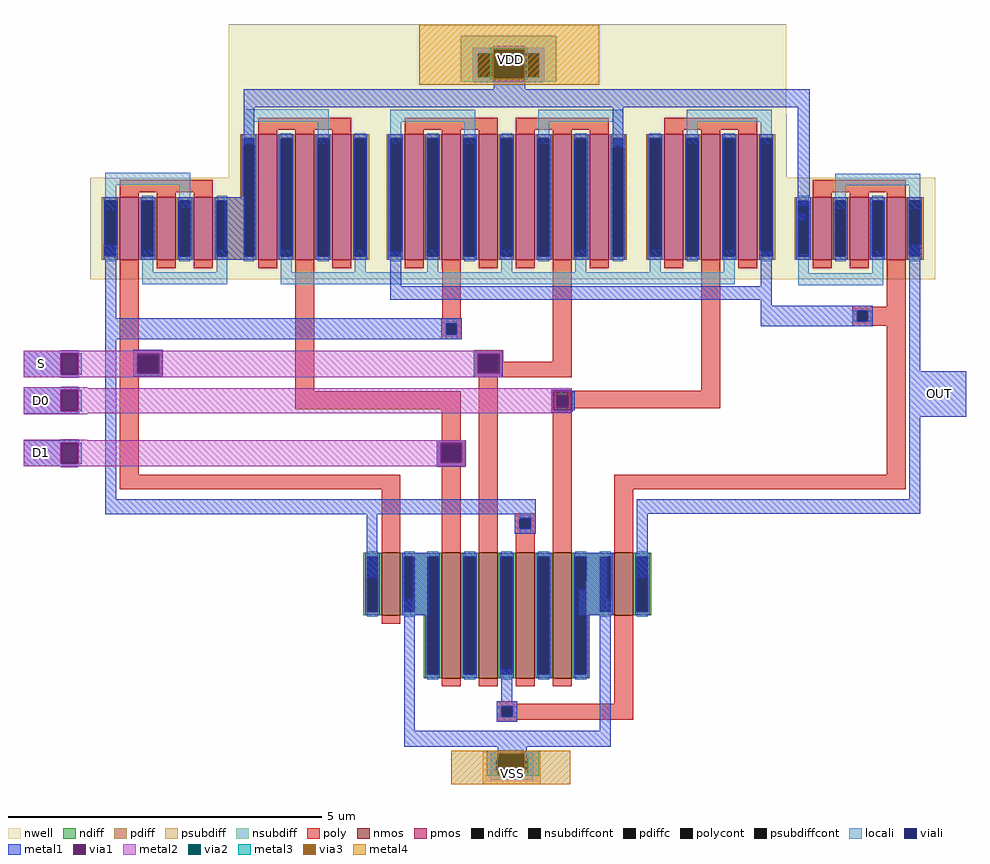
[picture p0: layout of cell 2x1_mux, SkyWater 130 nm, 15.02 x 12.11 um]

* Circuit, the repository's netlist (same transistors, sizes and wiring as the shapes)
** sch_path:
*+ /mnt/c/Users/DRC/Desktop/elec/4th/4th_fall/elec451/final_project/design/xschem/2x1_mux.sch
.subckt 2x1_mux VSS VDD S D0 D1 OUT
*.PININFO VSS:B VDD:B S:I D0:I D1:I OUT:O
XM2 net1 S_BAR net3 VSS sky130_fd_pr__nfet_01v8 L=0.3 W=2 nf=1 ad='int((nf+1)/2) * W/nf * 0.29' as='int((nf+2)/2) * W/nf * 0.29'
+ pd='2*int((nf+1)/2) * (W/nf + 0.29)' ps='2*int((nf+2)/2) * (W/nf + 0.29)' nrd='0.29 / W' nrs='0.29 / W'
+ sa=0 sb=0 sd=0 mult=1 m=1
XM3 net2 D1 VSS VSS sky130_fd_pr__nfet_01v8 L=0.3 W=2 nf=1 ad='int((nf+1)/2) * W/nf * 0.29' as='int((nf+2)/2) * W/nf * 0.29'
+ pd='2*int((nf+1)/2) * (W/nf + 0.29)' ps='2*int((nf+2)/2) * (W/nf + 0.29)' nrd='0.29 / W' nrs='0.29 / W'
+ sa=0 sb=0 sd=0 mult=1 m=1
XM4 net3 D0 VSS VSS sky130_fd_pr__nfet_01v8 L=0.3 W=2 nf=1 ad='int((nf+1)/2) * W/nf * 0.29' as='int((nf+2)/2) * W/nf * 0.29'
+ pd='2*int((nf+1)/2) * (W/nf + 0.29)' ps='2*int((nf+2)/2) * (W/nf + 0.29)' nrd='0.29 / W' nrs='0.29 / W'
+ sa=0 sb=0 sd=0 mult=1 m=1
XM5 net1 S_BAR net4 VDD sky130_fd_pr__pfet_01v8 L=0.3 W=6 nf=3 ad='int((nf+1)/2) * W/nf * 0.29' as='int((nf+2)/2) * W/nf * 0.29'
+ pd='2*int((nf+1)/2) * (W/nf + 0.29)' ps='2*int((nf+2)/2) * (W/nf + 0.29)' nrd='0.29 / W' nrs='0.29 / W'
+ sa=0 sb=0 sd=0 mult=1 m=1
XM7 net4 D1 VDD VDD sky130_fd_pr__pfet_01v8 L=0.3 W=6 nf=3 ad='int((nf+1)/2) * W/nf * 0.29' as='int((nf+2)/2) * W/nf * 0.29'
+ pd='2*int((nf+1)/2) * (W/nf + 0.29)' ps='2*int((nf+2)/2) * (W/nf + 0.29)' nrd='0.29 / W' nrs='0.29 / W'
+ sa=0 sb=0 sd=0 mult=1 m=1
XM8 net4 S VDD VDD sky130_fd_pr__pfet_01v8 L=0.3 W=6 nf=3 ad='int((nf+1)/2) * W/nf * 0.29' as='int((nf+2)/2) * W/nf * 0.29'
+ pd='2*int((nf+1)/2) * (W/nf + 0.29)' ps='2*int((nf+2)/2) * (W/nf + 0.29)' nrd='0.29 / W' nrs='0.29 / W'
+ sa=0 sb=0 sd=0 mult=1 m=1
XM9 OUT net1 VSS VSS sky130_fd_pr__nfet_01v8 L=0.3 W=1 nf=1 ad='int((nf+1)/2) * W/nf * 0.29' as='int((nf+2)/2) * W/nf * 0.29'
+ pd='2*int((nf+1)/2) * (W/nf + 0.29)' ps='2*int((nf+2)/2) * (W/nf + 0.29)' nrd='0.29 / W' nrs='0.29 / W'
+ sa=0 sb=0 sd=0 mult=1 m=1
XM10 OUT net1 VDD VDD sky130_fd_pr__pfet_01v8 L=0.3 W=3 nf=3 ad='int((nf+1)/2) * W/nf * 0.29' as='int((nf+2)/2) * W/nf * 0.29'
+ pd='2*int((nf+1)/2) * (W/nf + 0.29)' ps='2*int((nf+2)/2) * (W/nf + 0.29)' nrd='0.29 / W' nrs='0.29 / W'
+ sa=0 sb=0 sd=0 mult=1 m=1
XM12 S_BAR S VDD VDD sky130_fd_pr__pfet_01v8 L=0.3 W=3 nf=3 ad='int((nf+1)/2) * W/nf * 0.29' as='int((nf+2)/2) * W/nf * 0.29'
+ pd='2*int((nf+1)/2) * (W/nf + 0.29)' ps='2*int((nf+2)/2) * (W/nf + 0.29)' nrd='0.29 / W' nrs='0.29 / W'
+ sa=0 sb=0 sd=0 mult=1 m=1
XM11 S_BAR S VSS VSS sky130_fd_pr__nfet_01v8 L=0.3 W=1 nf=1 ad='int((nf+1)/2) * W/nf * 0.29' as='int((nf+2)/2) * W/nf * 0.29'
+ pd='2*int((nf+1)/2) * (W/nf + 0.29)' ps='2*int((nf+2)/2) * (W/nf + 0.29)' nrd='0.29 / W' nrs='0.29 / W'
+ sa=0 sb=0 sd=0 mult=1 m=1
XM1 net1 S net2 VSS sky130_fd_pr__nfet_01v8 L=0.3 W=2 nf=1 ad='int((nf+1)/2) * W/nf * 0.29' as='int((nf+2)/2) * W/nf * 0.29'
+ pd='2*int((nf+1)/2) * (W/nf + 0.29)' ps='2*int((nf+2)/2) * (W/nf + 0.29)' nrd='0.29 / W' nrs='0.29 / W'
+ sa=0 sb=0 sd=0 mult=1 m=1
XM6 net1 D0 net4 VDD sky130_fd_pr__pfet_01v8 L=0.3 W=6 nf=3 ad='int((nf+1)/2) * W/nf * 0.29' as='int((nf+2)/2) * W/nf * 0.29'
+ pd='2*int((nf+1)/2) * (W/nf + 0.29)' ps='2*int((nf+2)/2) * (W/nf + 0.29)' nrd='0.29 / W' nrs='0.29 / W'
+ sa=0 sb=0 sd=0 mult=1 m=1
.ends
.end

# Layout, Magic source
magic
tech sky130B
magscale 1 2
<< nwell >>
rect -471 496 1306 814
rect -484 95 -420 262
rect -476 62 -420 95
<< ndiff >>
rect 115 -1071 167 -871
rect 668 -960 735 -871
rect 667 -987 735 -960
rect 644 -1071 735 -987
<< pdiff >>
rect -484 95 -420 262
rect -476 62 -420 95
<< psubdiff >>
rect 338 -1526 524 -1502
rect 338 -1572 380 -1526
rect 484 -1572 524 -1526
rect 338 -1608 524 -1572
<< nsubdiff >>
rect 268 720 572 776
rect 268 644 322 720
rect 518 644 572 720
rect 268 630 572 644
<< psubdiffcont >>
rect 380 -1572 484 -1526
<< nsubdiffcont >>
rect 322 644 518 720
<< poly >>
rect -377 477 -81 516
rect 90 477 386 516
rect 444 477 740 516
rect 917 477 1213 516
rect -818 278 -522 317
rect 1390 278 1686 317
rect -818 -224 -758 59
rect -818 -241 -682 -224
rect -818 -296 -759 -241
rect -701 -296 -682 -241
rect -818 -311 -682 -296
rect -818 -623 -758 -311
rect -259 -356 -199 43
rect 209 -124 268 54
rect 209 -125 272 -124
rect 206 -141 272 -125
rect 206 -175 222 -141
rect 256 -175 272 -141
rect 206 -191 272 -175
rect 309 -240 404 -225
rect 309 -295 328 -240
rect 386 -263 404 -240
rect 562 -263 622 43
rect 386 -295 622 -263
rect 309 -312 622 -295
rect -259 -413 268 -356
rect 208 -512 268 -413
rect 197 -525 278 -512
rect 197 -580 210 -525
rect 268 -580 278 -525
rect 197 -591 278 -580
rect -818 -668 76 -623
rect 16 -857 76 -668
rect 208 -857 268 -591
rect 326 -857 386 -312
rect 1035 -354 1095 45
rect 1516 -87 1582 -84
rect 1626 -87 1686 59
rect 1516 -100 1686 -87
rect 1516 -134 1532 -100
rect 1566 -134 1686 -100
rect 1516 -147 1686 -134
rect 1516 -150 1582 -147
rect 557 -371 1095 -354
rect 557 -405 576 -371
rect 610 -405 1095 -371
rect 557 -411 1095 -405
rect 557 -421 626 -411
rect 557 -423 622 -421
rect 441 -761 507 -745
rect 441 -795 457 -761
rect 491 -795 507 -761
rect 441 -811 507 -795
rect 444 -855 504 -811
rect 562 -855 622 -423
rect 1626 -623 1686 -147
rect 758 -668 1686 -623
rect 758 -856 818 -668
rect 383 -1352 449 -1344
rect 758 -1352 818 -1083
rect 383 -1360 818 -1352
rect 383 -1394 399 -1360
rect 433 -1394 818 -1360
rect 383 -1403 818 -1394
rect 383 -1410 449 -1403
<< polycont >>
rect -759 -296 -701 -241
rect 222 -175 256 -141
rect 328 -295 386 -240
rect 210 -580 268 -525
rect 1532 -134 1566 -100
rect 576 -405 610 -371
rect 457 -795 491 -761
rect 399 -1394 433 -1360
<< locali >>
rect 306 720 534 738
rect 306 644 322 720
rect 518 644 534 720
rect 306 628 534 644
rect -423 503 -153 542
rect -423 431 -389 503
rect -187 431 -153 503
rect 44 502 314 541
rect 44 430 78 502
rect 280 430 314 502
rect 516 502 786 541
rect 516 430 550 502
rect 752 430 786 502
rect 989 502 1259 541
rect 989 430 1023 502
rect 1225 430 1259 502
rect -864 301 -594 340
rect -864 222 -830 301
rect -628 229 -594 301
rect 1462 300 1732 337
rect 1462 226 1496 300
rect 1698 226 1732 300
rect -746 23 -712 95
rect -510 23 -476 95
rect -746 -16 -476 23
rect -305 23 -271 95
rect -69 23 -35 95
rect 162 23 196 95
rect 398 23 432 95
rect 634 23 668 95
rect 871 23 905 95
rect 1107 23 1141 95
rect -305 -16 1141 23
rect 1344 20 1378 80
rect 1580 20 1614 92
rect 1344 -19 1614 20
rect 222 -141 256 -125
rect 1516 -134 1532 -100
rect 1566 -134 1582 -100
rect 222 -191 256 -175
rect -1007 -240 -950 -236
rect -1007 -300 -1003 -240
rect -954 -300 -950 -240
rect -1007 -304 -950 -300
rect -775 -241 -683 -224
rect -775 -296 -759 -241
rect -699 -296 -683 -241
rect -775 -309 -683 -296
rect 310 -240 402 -227
rect 310 -295 326 -240
rect 386 -295 402 -240
rect 310 -312 402 -295
rect -1007 -356 -950 -352
rect -1007 -416 -1003 -356
rect -954 -416 -950 -356
rect -1007 -420 -950 -416
rect 576 -371 610 -355
rect 576 -421 610 -405
rect -1007 -524 -950 -520
rect -1007 -584 -1003 -524
rect -954 -584 -950 -524
rect -1007 -588 -950 -584
rect 192 -525 284 -512
rect 192 -580 208 -525
rect 268 -580 284 -525
rect 192 -597 284 -580
rect 457 -761 491 -745
rect 457 -811 491 -795
rect 115 -1071 167 -871
rect 668 -960 735 -871
rect 667 -987 735 -960
rect 644 -1071 735 -987
rect 383 -1394 399 -1360
rect 433 -1394 449 -1360
rect 364 -1512 500 -1508
rect 364 -1526 402 -1512
rect 460 -1526 500 -1512
rect 364 -1572 380 -1526
rect 484 -1572 500 -1526
rect 364 -1594 500 -1572
<< viali >>
rect 388 646 460 700
rect 1532 -134 1566 -100
rect 222 -175 256 -141
rect -1003 -300 -954 -240
rect -759 -296 -701 -241
rect -701 -296 -699 -241
rect 326 -295 328 -240
rect 328 -295 386 -240
rect -1003 -416 -954 -356
rect 576 -405 610 -371
rect -1003 -584 -954 -524
rect 208 -580 210 -525
rect 210 -580 268 -525
rect 457 -795 491 -761
rect 399 -1394 433 -1360
rect 402 -1526 460 -1512
rect 402 -1558 460 -1526
<< metal1 >>
rect 374 646 384 706
rect 464 646 474 706
rect 374 606 474 646
rect -423 549 1380 606
rect -423 430 -389 549
rect 752 422 786 549
rect -865 -124 -830 110
rect -484 95 -420 262
rect 1343 234 1380 549
rect 1343 189 1364 211
rect -476 62 -420 95
rect 44 -22 78 89
rect 1225 -22 1259 90
rect 44 -64 1259 -22
rect 1225 -84 1259 -64
rect 1225 -100 1582 -84
rect -865 -141 272 -124
rect -865 -175 222 -141
rect 256 -175 272 -141
rect 1225 -134 1532 -100
rect 1566 -134 1582 -100
rect 1225 -150 1582 -134
rect -865 -191 272 -175
rect -1124 -236 -948 -228
rect -1124 -304 -1007 -236
rect -950 -304 -940 -236
rect -1124 -312 -948 -304
rect -1124 -352 -948 -344
rect -1124 -420 -1007 -352
rect -950 -420 -940 -352
rect -1124 -428 -948 -420
rect -1124 -520 -948 -512
rect -1124 -588 -1007 -520
rect -950 -588 -940 -520
rect -1124 -596 -948 -588
rect -865 -701 -830 -191
rect -775 -237 -683 -224
rect -775 -300 -763 -237
rect -692 -300 -683 -237
rect -775 -309 -683 -300
rect 310 -237 402 -227
rect 310 -299 322 -237
rect 392 -299 402 -237
rect 310 -312 402 -299
rect 1698 -292 1733 110
rect 557 -354 622 -351
rect 557 -357 626 -354
rect 557 -417 563 -357
rect 622 -417 632 -357
rect 557 -421 626 -417
rect 557 -423 622 -421
rect 1698 -438 1879 -292
rect 192 -520 284 -512
rect 192 -585 204 -520
rect 272 -585 284 -520
rect 192 -597 284 -585
rect 1698 -700 1733 -438
rect -865 -748 507 -701
rect 829 -747 1733 -700
rect -31 -950 3 -748
rect 441 -761 507 -748
rect 441 -795 457 -761
rect 491 -795 507 -761
rect 441 -811 507 -795
rect 115 -1018 167 -871
rect 668 -960 735 -871
rect 830 -950 864 -747
rect 667 -987 735 -960
rect 88 -1071 167 -1018
rect 644 -1018 735 -987
rect 644 -1071 746 -1018
rect 88 -1438 122 -1071
rect 398 -1344 432 -1242
rect 383 -1360 449 -1344
rect 383 -1394 399 -1360
rect 433 -1394 449 -1360
rect 383 -1410 449 -1394
rect 712 -1438 746 -1071
rect 88 -1490 746 -1438
rect 386 -1512 478 -1490
rect 386 -1564 398 -1512
rect 464 -1564 478 -1512
rect 386 -1568 478 -1564
<< via1 >>
rect 384 700 464 706
rect 384 646 388 700
rect 388 646 460 700
rect 460 646 464 700
rect -1007 -240 -950 -236
rect -1007 -300 -1003 -240
rect -1003 -300 -954 -240
rect -954 -300 -950 -240
rect -1007 -304 -950 -300
rect -1007 -356 -950 -352
rect -1007 -416 -1003 -356
rect -1003 -416 -954 -356
rect -954 -416 -950 -356
rect -1007 -420 -950 -416
rect -1007 -524 -950 -520
rect -1007 -584 -1003 -524
rect -1003 -584 -954 -524
rect -954 -584 -950 -524
rect -1007 -588 -950 -584
rect -763 -241 -692 -237
rect -763 -296 -759 -241
rect -759 -296 -699 -241
rect -699 -296 -692 -241
rect -763 -300 -692 -296
rect 322 -240 392 -237
rect 322 -295 326 -240
rect 326 -295 386 -240
rect 386 -295 392 -240
rect 322 -299 392 -295
rect 563 -371 622 -357
rect 563 -405 576 -371
rect 576 -405 610 -371
rect 610 -405 622 -371
rect 563 -417 622 -405
rect 204 -525 272 -520
rect 204 -580 208 -525
rect 208 -580 268 -525
rect 268 -580 272 -525
rect 204 -585 272 -580
rect 398 -1558 402 -1512
rect 402 -1558 460 -1512
rect 460 -1558 464 -1512
rect 398 -1564 464 -1558
<< metal2 >>
rect 372 734 472 744
rect 372 632 472 642
rect -1007 -227 -950 -226
rect -774 -227 -681 -225
rect -1015 -228 401 -227
rect -1124 -236 401 -228
rect -1124 -304 -1007 -236
rect -950 -237 401 -236
rect -950 -300 -763 -237
rect -692 -299 322 -237
rect 392 -299 401 -237
rect -692 -300 401 -299
rect -950 -304 401 -300
rect -1124 -311 401 -304
rect -1124 -312 -940 -311
rect -1007 -314 -950 -312
rect -1007 -344 -950 -342
rect -1124 -347 -922 -344
rect -1124 -352 622 -347
rect -1124 -420 -1007 -352
rect -950 -357 622 -352
rect -950 -417 563 -357
rect -950 -420 622 -417
rect -1124 -426 622 -420
rect -1124 -429 -922 -426
rect 563 -427 622 -426
rect -1007 -430 -950 -429
rect -1007 -511 -950 -510
rect -1124 -512 -922 -511
rect -1124 -520 283 -512
rect -1124 -588 -1007 -520
rect -950 -585 204 -520
rect 272 -585 283 -520
rect -950 -588 283 -585
rect -1124 -596 283 -588
rect -1007 -598 -950 -596
rect 392 -1510 468 -1500
rect 392 -1578 468 -1568
<< via2 >>
rect 372 706 472 734
rect 372 646 384 706
rect 384 646 464 706
rect 464 646 472 706
rect 372 642 472 646
rect 392 -1512 468 -1510
rect 392 -1564 398 -1512
rect 398 -1564 464 -1512
rect 464 -1564 468 -1512
rect 392 -1568 468 -1564
<< metal3 >>
rect 362 734 482 739
rect 362 640 372 734
rect 472 640 482 734
rect 362 637 482 640
rect 352 -1510 518 -1502
rect 352 -1578 386 -1510
rect 470 -1578 518 -1510
rect 352 -1582 518 -1578
<< via3 >>
rect 372 642 472 732
rect 372 640 472 642
rect 386 -1568 392 -1510
rect 392 -1568 468 -1510
rect 468 -1568 470 -1510
rect 386 -1578 470 -1568
<< metal4 >>
rect 136 732 710 812
rect 136 640 372 732
rect 472 640 710 732
rect 136 620 710 640
rect 238 -1510 618 -1502
rect 238 -1578 386 -1510
rect 470 -1578 618 -1510
rect 238 -1608 618 -1578
use sky130_fd_pr__nfet_01v8_AJ3TNB  sky130_fd_pr__nfet_01v8_AJ3TNB_0
transform 1 0 46 0 1 -971
box -88 -126 88 126
use sky130_fd_pr__nfet_01v8_AJ3TNB  sky130_fd_pr__nfet_01v8_AJ3TNB_1
transform 1 0 788 0 1 -971
box -88 -126 88 126
use sky130_fd_pr__nfet_01v8_CSZSK8  sky130_fd_pr__nfet_01v8_CSZSK8_0
transform 1 0 415 0 1 -1071
box -265 -226 265 226
use sky130_fd_pr__pfet_01v8_6C4S85  sky130_fd_pr__pfet_01v8_6C4S85_0
transform 1 0 415 0 1 262
box -419 -262 419 262
use sky130_fd_pr__pfet_01v8_6CQCZ3  sky130_fd_pr__pfet_01v8_6CQCZ3_0
transform 1 0 1065 0 1 262
box -242 -262 242 262
use sky130_fd_pr__pfet_01v8_6CQCZ3  sky130_fd_pr__pfet_01v8_6CQCZ3_1
transform 1 0 -229 0 1 262
box -242 -262 242 262
use sky130_fd_pr__pfet_01v8_A6QCZ3  sky130_fd_pr__pfet_01v8_A6QCZ3_0
transform 1 0 1538 0 1 162
box -242 -162 242 162
use sky130_fd_pr__pfet_01v8_A6QCZ3  sky130_fd_pr__pfet_01v8_A6QCZ3_2
transform 1 0 -670 0 1 162
box -242 -162 242 162
<< labels >>
flabel metal1 -1118 -590 -1020 -516 1 FreeSans 240 0 0 0 D1
port 1 n
flabel metal1 -1118 -306 -1020 -232 1 FreeSans 240 0 0 0 S
port 2 n
flabel metal1 -1118 -422 -1020 -348 1 FreeSans 240 0 0 0 D0
port 3 n
flabel metal1 1718 -428 1870 -301 1 FreeSans 240 0 0 0 OUT
port 4 n
flabel metal4 380 -1602 484 -1546 1 FreeSerif 640 0 0 0 VSS
port 8 n
flabel metal4 352 644 500 758 1 FreeSerif 640 0 0 0 VDD
port 9 n
<< end >>

# cell sky130_fd_pr__nfet_01v8_AJ3TNB: kit device sky130_fd_pr__nfet_01v8, w 1 l 0.30 m 1 nf 1 diffcov 100 polycov 100 guard 0 glc 1 grc 1 gtc 1 gbc 1 tbcov 100 rlcov 100 topc 0 botc 0 poverlap 0 doverlap 1 lmin 0.15 wmin 0.42 compatible {sky130_fd_pr__nfet_01v8 sky130_fd_pr__nfet_01v8_lvt sky130_fd_bs_flash__special_sonosfet_star sky130_fd_pr__nfet_g5v0d10v5 sky130_fd_pr__nfet_05v0_nvt sky130_fd_pr__nfet_03v3_nvt} full_metal 1 viasrc 100 viadrn 100 viagate 100 viagb 0 viagr 0 viagl 0 viagt 0

# cell sky130_fd_pr__nfet_01v8_CSZSK8: kit device sky130_fd_pr__nfet_01v8, w 2 l 0.30 m 1 nf 4 diffcov 100 polycov 100 guard 0 glc 1 grc 1 gtc 1 gbc 1 tbcov 100 rlcov 100 topc 0 botc 0 poverlap 0 doverlap 1 lmin 0.15 wmin 0.42 compatible {sky130_fd_pr__nfet_01v8 sky130_fd_pr__nfet_01v8_lvt sky130_fd_bs_flash__special_sonosfet_star sky130_fd_pr__nfet_g5v0d10v5 sky130_fd_pr__nfet_05v0_nvt sky130_fd_pr__nfet_03v3_nvt} full_metal 1 viasrc 100 viadrn 100 viagate 100 viagb 0 viagr 0 viagl 0 viagt 0

# cell sky130_fd_pr__pfet_01v8_6C4S85: kit device sky130_fd_pr__pfet_01v8, w 2 l 0.3 m 1 nf 6 diffcov 100 polycov 100 guard 0 glc 1 grc 1 gtc 1 gbc 1 tbcov 100 rlcov 100 topc 0 botc 0 poverlap 0 doverlap 1 lmin 0.15 wmin 0.42 compatible {sky130_fd_pr__pfet_01v8 sky130_fd_pr__pfet_01v8_lvt sky130_fd_pr__pfet_01v8_hvt sky130_fd_pr__pfet_g5v0d10v5} full_metal 1 viasrc 100 viadrn 100 viagate 100 viagb 0 viagr 0 viagl 0 viagt 0

# cell sky130_fd_pr__pfet_01v8_6CQCZ3: kit device sky130_fd_pr__pfet_01v8, w 2 l 0.3 m 1 nf 3 diffcov 100 polycov 100 guard 0 glc 1 grc 1 gtc 1 gbc 1 tbcov 100 rlcov 100 topc 0 botc 0 poverlap 0 doverlap 1 lmin 0.15 wmin 0.42 compatible {sky130_fd_pr__pfet_01v8 sky130_fd_pr__pfet_01v8_lvt sky130_fd_pr__pfet_01v8_hvt sky130_fd_pr__pfet_g5v0d10v5} full_metal 1 viasrc 100 viadrn 100 viagate 100 viagb 0 viagr 0 viagl 0 viagt 0

# cell sky130_fd_pr__pfet_01v8_A6QCZ3: kit device sky130_fd_pr__pfet_01v8, w 1 l 0.3 m 1 nf 3 diffcov 100 polycov 100 guard 0 glc 1 grc 1 gtc 1 gbc 1 tbcov 100 rlcov 100 topc 0 botc 0 poverlap 0 doverlap 1 lmin 0.15 wmin 0.42 compatible {sky130_fd_pr__pfet_01v8 sky130_fd_pr__pfet_01v8_lvt sky130_fd_pr__pfet_01v8_hvt sky130_fd_pr__pfet_g5v0d10v5} full_metal 1 viasrc 100 viadrn 100 viagate 100 viagb 0 viagr 0 viagl 0 viagt 0
